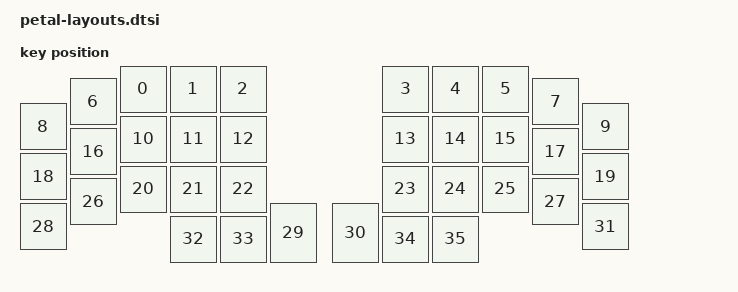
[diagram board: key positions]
/ {
    physical_layout0: physical_layout_0 {
        compatible = "zmk,physical-layout";
        display-name = "Petal";
        kscan = <&kscan0>;
        transform = <&matrix_transform0>;

        keys  //                     w   h    x    y     rot    rx    ry
            = <&key_physical_attrs 100 100  200    0       0     0     0>
            , <&key_physical_attrs 100 100  300    0       0     0     0>
            , <&key_physical_attrs 100 100  400    0       0     0     0>
            , <&key_physical_attrs 100 100  725    0       0     0     0>
            , <&key_physical_attrs 100 100  825    0       0     0     0>
            , <&key_physical_attrs 100 100  925    0       0     0     0>
            , <&key_physical_attrs 100 100  100   25       0     0     0>
            , <&key_physical_attrs 100 100 1025   25       0     0     0>
            , <&key_physical_attrs 100 100    0   75       0     0     0>
            , <&key_physical_attrs 100 100 1125   75       0     0     0>
            , <&key_physical_attrs 100 100  200  100       0     0     0>
            , <&key_physical_attrs 100 100  300  100       0     0     0>
            , <&key_physical_attrs 100 100  400  100       0     0     0>
            , <&key_physical_attrs 100 100  725  100       0     0     0>
            , <&key_physical_attrs 100 100  825  100       0     0     0>
            , <&key_physical_attrs 100 100  925  100       0     0     0>
            , <&key_physical_attrs 100 100  100  125       0     0     0>
            , <&key_physical_attrs 100 100 1025  125       0     0     0>
            , <&key_physical_attrs 100 100    0  175       0     0     0>
            , <&key_physical_attrs 100 100 1125  175       0     0     0>
            , <&key_physical_attrs 100 100  200  200       0     0     0>
            , <&key_physical_attrs 100 100  300  200       0     0     0>
            , <&key_physical_attrs 100 100  400  200       0     0     0>
            , <&key_physical_attrs 100 100  725  200       0     0     0>
            , <&key_physical_attrs 100 100  825  200       0     0     0>
            , <&key_physical_attrs 100 100  925  200       0     0     0>
            , <&key_physical_attrs 100 100  100  225       0     0     0>
            , <&key_physical_attrs 100 100 1025  225       0     0     0>
            , <&key_physical_attrs 100 100    0  275       0     0     0>
            , <&key_physical_attrs 100 125  500  275       0     0     0>
            , <&key_physical_attrs 100 125  625  275       0     0     0>
            , <&key_physical_attrs 100 100 1125  275       0     0     0>
            , <&key_physical_attrs 100 100  300  300       0     0     0>
            , <&key_physical_attrs 100 100  400  300       0     0     0>
            , <&key_physical_attrs 100 100  725  300       0     0     0>
            , <&key_physical_attrs 100 100  825  300       0     0     0>
            ;
    };

    position_map {
        compatible = "zmk,physical-layout-position-map";

        physical_layout0 {
            physical-layout = <&physical_layout0>;
            positions
                = < 8  6  0  1  2  3  4  5  7  9 18 16 10 11 12 13>
                , <14 15 17 19 28 26 20 21 22 23 24 25 27 31 32 33>
                , <29 30 34 35>
                ;
        };
    };
};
